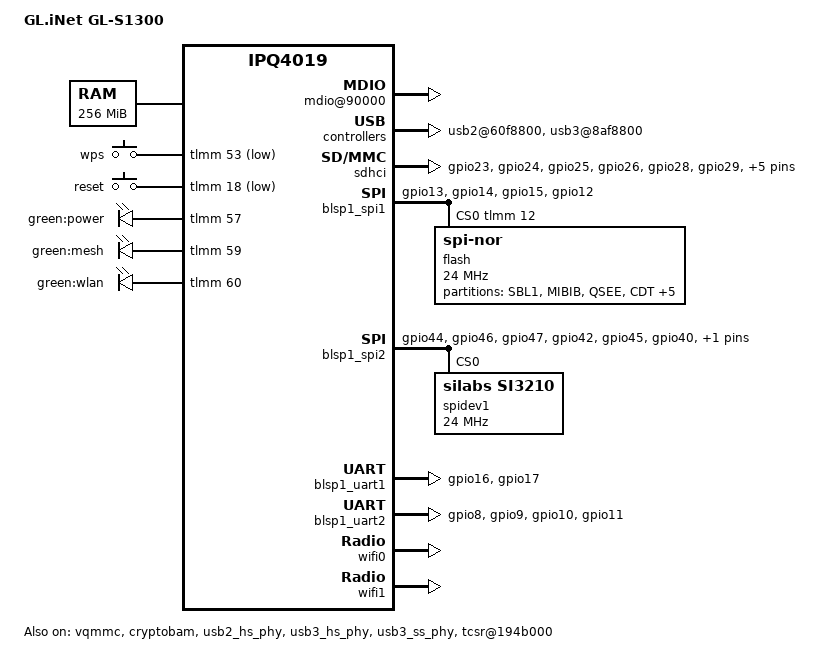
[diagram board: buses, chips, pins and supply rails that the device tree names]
// SPDX-License-Identifier: GPL-2.0-only OR MIT

#include "qcom-ipq4019.dtsi"
#include <dt-bindings/gpio/gpio.h>
#include <dt-bindings/input/input.h>
#include <dt-bindings/soc/qcom,tcsr.h>

/ {
	model = "GL.iNet GL-S1300";
	compatible = "glinet,gl-s1300";

	aliases {
		led-boot = &led_power;
		led-failsafe = &led_power;
		led-running = &led_power;
		led-upgrade = &led_power;
	};

	memory {
		device_type = "memory";
		reg = <0x80000000 0x10000000>;
	};

	soc {
		rng@22000 {
			status = "okay";
		};

		mdio@90000 {
			status = "okay";
		};

		ess-psgmii@98000 {
			status = "okay";
		};

		tcsr@1949000 {
			compatible = "qcom,tcsr";
			reg = <0x1949000 0x100>;
			qcom,wifi_glb_cfg = <TCSR_WIFI_GLB_CFG>;
		};

		tcsr@194b000 {
			/* select hostmode */
			compatible = "qcom,tcsr";
			reg = <0x194b000 0x100>;
			qcom,usb-hsphy-mode-select = <TCSR_USB_HSPHY_HOST_MODE>;
			status = "okay";
		};

		ess_tcsr@1953000 {
			compatible = "qcom,tcsr";
			reg = <0x1953000 0x1000>;
			qcom,ess-interface-select = <TCSR_ESS_PSGMII>;
		};

		tcsr@1957000 {
			compatible = "qcom,tcsr";
			reg = <0x1957000 0x100>;
			qcom,wifi_noc_memtype_m0_m2 = <TCSR_WIFI_NOC_MEMTYPE_M0_M2>;
		};

		usb2@60f8800 {
			status = "okay";
		};

		usb3@8af8800 {
			status = "okay";
		};

		crypto@8e3a000 {
			status = "okay";
		};

		watchdog@b017000 {
			status = "okay";
		};

		ess-switch@c000000 {
			status = "okay";
			switch_lan_bmp = <0x18>;
			switch_wan_bmp = <0x20>;
		};

		edma@c080000 {
			status = "okay";
		};
	};

	keys {
		compatible = "gpio-keys";

		wps {
			label = "wps";
			gpios = <&tlmm 53 GPIO_ACTIVE_LOW>;
			linux,code = <KEY_WPS_BUTTON>;
		};

		reset {
			label = "reset";
			gpios = <&tlmm 18 GPIO_ACTIVE_LOW>;
			linux,code = <KEY_RESTART>;
		};
	};

	leds {
		compatible = "gpio-leds";

		led_power: power {
			label = "green:power";
			gpios = <&tlmm 57 GPIO_ACTIVE_HIGH>;
			default-state = "on";
		};

		mesh {
			label = "green:mesh";
			gpios = <&tlmm 59 GPIO_ACTIVE_HIGH>;
		};

		wlan {
			label = "green:wlan";
			gpios = <&tlmm 60 GPIO_ACTIVE_HIGH>;
			linux,default-trigger = "phy0tpt";
		};
	};
};

&vqmmc {
	status = "okay";
};

&sdhci {
	status = "okay";
	pinctrl-0 = <&sd_pins>;
	pinctrl-names = "default";
	cd-gpios = <&tlmm 22 GPIO_ACTIVE_LOW>;
	vqmmc-supply = <&vqmmc>;
};

&blsp_dma {
	status = "okay";
};

&cryptobam {
	status = "okay";
};

&blsp1_spi1 {
	pinctrl-0 = <&spi_0_pins>;
	pinctrl-names = "default";
	status = "okay";
	cs-gpios = <&tlmm 12 GPIO_ACTIVE_HIGH>;

	flash@0 {
		compatible = "jedec,spi-nor";
		reg = <0>;
		spi-max-frequency = <24000000>;

		partitions {
			compatible = "fixed-partitions";
			#address-cells = <1>;
			#size-cells = <1>;

			SBL1@0 {
				label = "SBL1";
				reg = <0x0 0x40000>;
				read-only;
			};

			MIBIB@40000 {
				label = "MIBIB";
				reg = <0x40000 0x20000>;
				read-only;
			};

			QSEE@60000 {
				label = "QSEE";
				reg = <0x60000 0x60000>;
				read-only;
			};

			CDT@c0000 {
				label = "CDT";
				reg = <0xc0000 0x10000>;
				read-only;
			};

			DDRPARAMS@d0000 {
				label = "DDRPARAMS";
				reg = <0xd0000 0x10000>;
				read-only;
			};

			APPSBLENV@e0000 {
				label = "APPSBLENV";
				reg = <0xe0000 0x10000>;
				read-only;
			};

			APPSBL@f0000 {
				label = "APPSBL";
				reg = <0xf0000 0x80000>;
				read-only;
			};

			ART@170000 {
				label = "ART";
				reg = <0x170000 0x10000>;
				read-only;
			};

			firmware@180000 {
				compatible = "denx,fit";
				label = "firmware";
				reg = <0x180000 0xe80000>;
			};
		};
	};
};

&blsp1_spi2 {
	pinctrl-0 = <&spi_1_pins>;
	pinctrl-names = "default";
	status = "okay";

	spidev1: spi@0 {
		compatible = "silabs,si3210";
		reg = <0>;
		spi-max-frequency = <24000000>;
	};
};

&blsp1_uart1 {
	pinctrl-0 = <&serial_pins>;
	pinctrl-names = "default";
	status = "okay";
};

&blsp1_uart2 {
	pinctrl-0 = <&serial_1_pins>;
	pinctrl-names = "default";
	status = "okay";
};

&tlmm {
	serial_pins: serial_pinmux {
		mux {
			pins = "gpio16", "gpio17";
			function = "blsp_uart0";
			bias-disable;
		};
	};

	serial_1_pins: serial1_pinmux {
		mux {
			pins = "gpio8", "gpio9",
				"gpio10", "gpio11";
			function = "blsp_uart1";
			bias-disable;
		};
	};

	spi_0_pins: spi_0_pinmux {
		pinmux {
			function = "blsp_spi0";
			pins = "gpio13", "gpio14", "gpio15";
		};

		pinmux_cs {
			function = "gpio";
			pins = "gpio12";
		};

		pinconf {
			pins = "gpio13", "gpio14", "gpio15";
			drive-strength = <12>;
			bias-disable;
		};

		pinconf_cs {
			pins = "gpio12";
			drive-strength = <2>;
			bias-disable;
			output-high;
		};
	};

	spi_1_pins: spi_1_pinmux {
		mux {
			pins = "gpio44", "gpio46", "gpio47";
			function = "blsp_spi1";
			bias-disable;
		};

		host_int {
			pins = "gpio42";
			function = "gpio";
			input;
		};

		cs {
			pins = "gpio45";
			function = "gpio";
			bias-pull-up;
		};

		wake {
			pins = "gpio40";
			function = "gpio";
			output-high;
		};

		reset {
			pins = "gpio49";
			function = "gpio";
			output-high;
		};
	};

	sd_pins: sd_pins {
		pinmux {
			function = "sdio";
			pins = "gpio23", "gpio24", "gpio25", "gpio26",
				"gpio28", "gpio29", "gpio30", "gpio31";
			drive-strength = <10>;
		};

		pinmux_sd_clk {
			function = "sdio";
			pins = "gpio27";
			drive-strength = <16>;
		};

		pinmux_sd7 {
			function = "sdio";
			pins = "gpio32";
			drive-strength = <10>;
			bias-disable;
		};
	};
};

&usb2_hs_phy {
	status = "okay";
};

&usb3_hs_phy {
	status = "okay";
};

&usb3_ss_phy {
	status = "okay";
};

&wifi0 {
	status = "okay";
	qcom,ath10k-calibration-variant = "GL-S1300";
};

&wifi1 {
	status = "okay";
	qcom,ath10k-calibration-variant = "GL-S1300";
};
